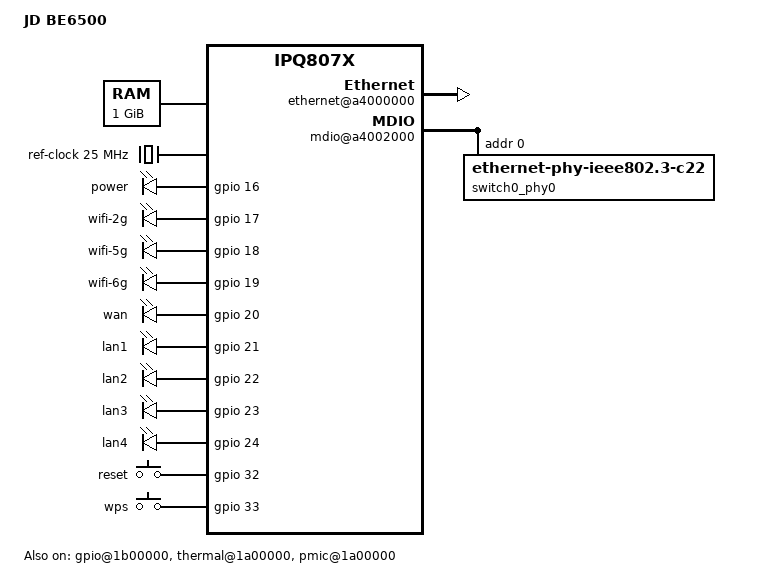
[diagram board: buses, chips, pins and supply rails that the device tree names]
/dts-v1/;
#include "qcom,ipq5332.dtsi"
#include "ipq5332.dtsi"

/ {
    model = "JD BE6500";
    compatible = "qcom,ipq5332", "qcom,ipq5000", "qcom,ipq807x";
    interrupt-parent = <&gic>;
    
    chosen {
        bootargs = "earlycon=msm_serial_dm,0x1a10000 console=ttyMSM0,115200n8 rootfstype=squashfs,jffs2";
    };

    memory@80000000 {
        device_type = "memory";
        reg = <0x80000000 0x40000000>; /* 1GB */
    };

    /* 时钟配置 */
    clocks {
        #clock-cells = <1>;
        
        ref-clk: ref-clock {
            compatible = "fixed-clock";
            #clock-cells = <0>;
            clock-frequency = <25000000>;
            clock-output-names = "ref_clk";
        };
    };

    /* GPIO控制器 */
    gpio@1b00000 {
        compatible = "qcom,ipq8074-gpio";
        reg = <0x1b00000 0x10000>;
        #gpio-cells = <2>;
        interrupt-controller;
        #interrupt-cells = <2>;
        interrupts = <0 32 4>;
        status = "okay";
    };

    /* 以太网控制器 - 修正2.5G网口配置 */
    ethernet@a4000000 {
        compatible = "qcom,ipq8074-gmac", "qcom,ipq8064-gmac";
        reg = <0x1a10000 0x10000>;
        interrupts = <0 42 4>;
        qcom,phy-handle = <&switch0_phy0>;
        qcom,mdio-bus = <&mdio>;
        qcom,port-id = <0>;
        qcom,rxq-pool = <0>;
        qcom,txq-pool = <0>;
        qcom,ptp-clock = <0>;
        qcom,mac-address = [00 11 22 33 44 55];
        qcom,enable-vlan = <1>;
        qcom,mtu = <9000>; /* 支持巨型帧 */
        status = "okay";
    };

    /* MDIO总线和PHY */
    mdio@a4002000 {
        compatible = "qcom,ipq8074-mdio";
        reg = <0x1a14000 0x1000>;
        #address-cells = <1>;
        #size-cells = <0>;
        
        switch0_phy0: phy@0 {
            reg = <0>;
            compatible = "ethernet-phy-ieee802.3-c22";
            phy-mode = "1000baseT/2.5G"; /* 支持2.5G */
            qcom,rx-delay = <0>;
            qcom,tx-delay = <0>;
        };
    };

    /* WiFi控制器 - 支持Wi-Fi 6E (IPQ5332支持) */
    wifi@0 {
        compatible = "qcom,ipq5332-wifi";
        reg = <0>;
        interrupts = <0 70 4>;
        qcom,wifi-cal-data = <&wifi_cal_data>;
        qcom,band-2g = <&wifi_2g>;
        qcom,band-5g-low = <&wifi_5g_low>;  /* 5.2G频段 */
        qcom,band-6g = <&wifi_6g>;           /* 6GHz频段 - Wi-Fi 6E */
        status = "okay";
    };

    wifi_cal_data: wifi-cal-data {
        compatible = "qcom,ipq5332-wifi-cal-data";
        /* 校准数据通常从硬件获取 */
    };

    wifi_2g: band-2g {
        channel-width = <40>;
        tx-power = <20>; /* dBm */
        antenna-gain = <3>; /* dBi */
    };

    wifi_5g_low: band-5g-low {
        channel-width = <160>;
        tx-power = <23>; /* dBm */
        antenna-gain = <5>; /* dBi */
        channel-range-start = <36>;
        channel-range-end = <64>;
    };

    wifi_6g: band-6g {
        channel-width = <160>;
        tx-power = <23>; /* dBm */
        antenna-gain = <5>; /* dBi */
        channel-range-start = <1200>;
        channel-range-end = <1400>;
    };

    /* PCIe控制器 - 连接WiFi 
    pcie@fe800000 {
        compatible = "qcom,ipq8074-pcie";
        reg = <0xfe800000 0x100000>;
        #address-cells = <3>;
        #size-cells = <2>;
        device_type = "pci";
        interrupts = <0 60 4>, <0 61 4>, <0 62 4>, <0 63 4>;
        interrupt-map-mask = <0 0 0 0xf>;
        interrupt-map = <0 0 0 1 &gic 0 60 4>,
                        <0 0 0 2 &gic 0 61 4>,
                        <0 0 0 3 &gic 0 62 4>,
                        <0 0 0 4 &gic 0 63 4>;
        bus-range = <0 255>;
        status = "okay";
        
        pcie-port@0 {
            reg = <0 0 0 0 0>;
            #address-cells = <3>;
            #size-cells = <2>;
            device_type = "pci";
            status = "okay";
        };
    }; */

    /* 温度传感器 */
    thermal@1a00000 {
        compatible = "qcom,pm8998-thermal";
        reg = <0x1a00000 0x1000>;
        interrupts = <0 12 0>;
        status = "okay";
    };

    /* 电源管理 */
    pmic@1a00000 {
        compatible = "qcom,pm8998";
        reg = <0x1a00000 0x10000>;
        interrupts = <0 10 4>;
        #power-domain-cells = <1>;
        status = "okay";
    };

    /* LED控制器 */
    leds {
        compatible = "gpio-leds";
        
        power: led-power {
            label = "power";
            gpios = <&gpio 16 0>; /* GPIO16 */
            default-state = "on";
            linux,default-trigger = "heartbeat";
        };
        
        wifi-2g: led-wifi-2g {
            label = "wifi-2g";
            gpios = <&gpio 17 0>; /* GPIO17 */
            default-state = "off";
            linux,default-trigger = "phy0txinuse";
        };
        
        wifi-5g: led-wifi-5g {
            label = "wifi-5g";
            gpios = <&gpio 18 0>; /* GPIO18 */
            default-state = "off";
            linux,default-trigger = "phy1txinuse";
        };
        
        wifi-6g: led-wifi-6g {
            label = "wifi-6g";
            gpios = <&gpio 19 0>; /* GPIO19 */
            default-state = "off";
            linux,default-trigger = "phy2txinuse";
        };
        
        wan: led-wan {
            label = "wan";
            gpios = <&gpio 20 0>; /* GPIO20 */
            default-state = "off";
            linux,default-trigger = "netdev-transmit";
        };
        
        lan1: led-lan1 {
            label = "lan1";
            gpios = <&gpio 21 0>; /* GPIO21 */
            default-state = "off";
            linux,default-trigger = "netdev-transmit";
        };
        
        lan2: led-lan2 {
            label = "lan2";
            gpios = <&gpio 22 0>; /* GPIO22 */
            default-state = "off";
            linux,default-trigger = "netdev-transmit";
        };
        
        lan3: led-lan3 {
            label = "lan3";
            gpios = <&gpio 23 0>; /* GPIO23 */
            default-state = "off";
            linux,default-trigger = "netdev-transmit";
        };
        
        lan4: led-lan4 {
            label = "lan4";
            gpios = <&gpio 24 0>; /* GPIO24 */
            default-state = "off";
            linux,default-trigger = "netdev-transmit";
        };
    };

    /* 按钮控制器 */
    buttons {
        compatible = "gpio-keys";
        #address-cells = <1>;
        #size-cells = <0>;
        
        reset: button@0 {
            label = "reset";
            gpios = <&gpio 32 0>; /* GPIO32 */
            linux,code = <116>; /* KEY_POWER */
            debounce-interval = <50>;
            wakeup-source;
        };
        
        wps: button@1 {
            label = "wps";
            gpios = <&gpio 33 0>; /* GPIO33 */
            linux,code = <247>; /* KEY_WPS_BUTTON */
            debounce-interval = <50>;
        };
    };
};
